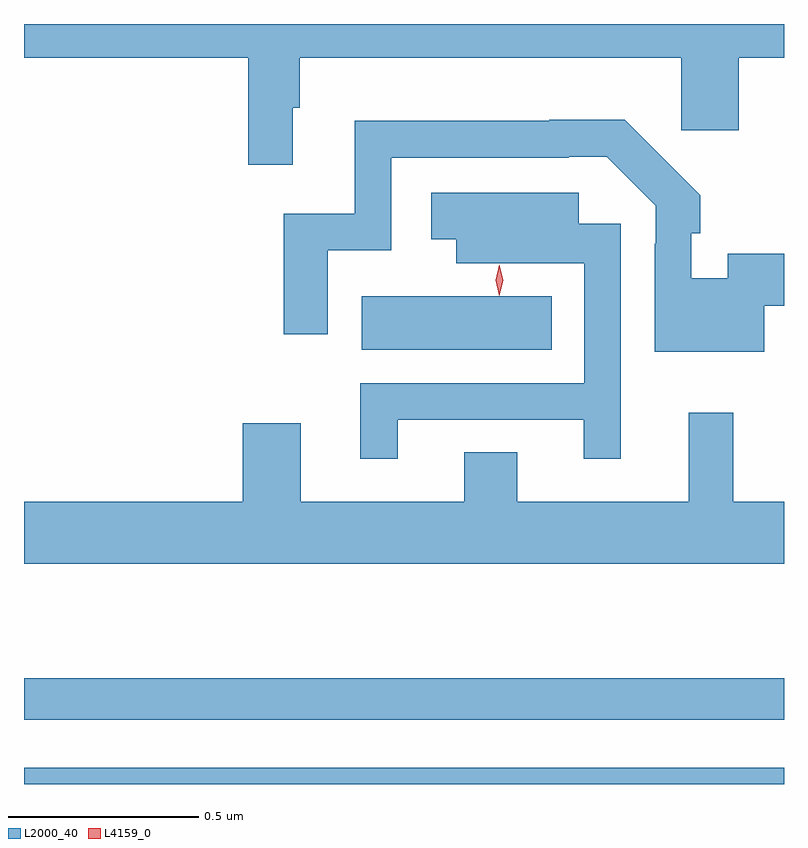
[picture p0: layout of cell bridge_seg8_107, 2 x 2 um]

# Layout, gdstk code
import gdstk
lib = gdstk.Library(unit=1e-6, precision=1e-09)
def R(c, l, rs):  # rectangles x0, y0, x1, y1
    for r in rs: c.add(gdstk.rectangle(r[:2], r[2:], *l))
def P(c, l, *ps):  # polygons
    for p in ps: c.add(gdstk.Polygon(p, *l))
L2000_40 = (2000, 40)
L4159_0 = (4159, 0)

bridge_seg8_107 = lib.new_cell('bridge_seg8_107')
R(bridge_seg8_107, L2000_40, [(779.591,1125.245,781.591,1125.288), (779.591,1125.414,781.591,1125.523), (780.48,1126.388,780.98,1126.528)])
P(bridge_seg8_107, L2000_40, [(780.298,1127.024),(780.317,1127.024),(780.317,1127.156),(781.321,1127.156),(781.321,1126.965),(781.472,1126.965),(781.472,1127.156),(781.591,1127.156),(781.591,1127.245),(779.591,1127.245),(779.591,1127.156),(780.181,1127.156),(780.181,1126.875),(780.298,1126.875)],
  [(781.539,1126.504),(781.591,1126.504),(781.591,1126.64),(781.443,1126.64),(781.443,1126.576),(781.347,1126.576),(781.347,1126.694),(781.37,1126.694),(781.37,1126.795),(781.172,1126.993),(780.973,1126.993),(780.973,1126.99),(780.461,1126.99),(780.461,1126.746),(780.274,1126.746),(780.274,1126.428),(780.39,1126.428),(780.39,1126.65),(780.558,1126.65),(780.558,1126.893),(781.025,1126.893),(781.025,1126.896),(781.125,1126.896),(781.254,1126.767),(781.254,1126.667),(781.251,1126.667),(781.251,1126.382),(781.539,1126.382)],
  [(780.574,1126.203),(781.064,1126.203),(781.064,1126.101),(781.161,1126.101),(781.161,1126.719),(781.051,1126.719),(781.051,1126.801),(780.663,1126.801),(780.663,1126.679),(780.728,1126.679),(780.728,1126.616),(781.065,1126.616),(781.065,1126.299),(780.476,1126.299),(780.476,1126.101),(780.574,1126.101)],
  [(781.591,1125.988),(781.457,1125.988),(781.457,1126.222),(781.34,1126.222),(781.34,1125.988),(780.889,1125.988),(780.889,1126.118),(780.749,1126.118),(780.749,1125.988),(780.319,1125.988),(780.319,1126.195),(780.167,1126.195),(780.167,1125.988),(779.591,1125.988),(779.591,1125.824),(781.591,1125.824)])
P(bridge_seg8_107, L4159_0, [(780.842,1126.53),(780.842,1126.53),(780.832,1126.571),(780.842,1126.611),(780.842,1126.612),(780.842,1126.611),(780.852,1126.571),(780.842,1126.53)])

lib.write_gds('bridge_seg8_107.gds')
